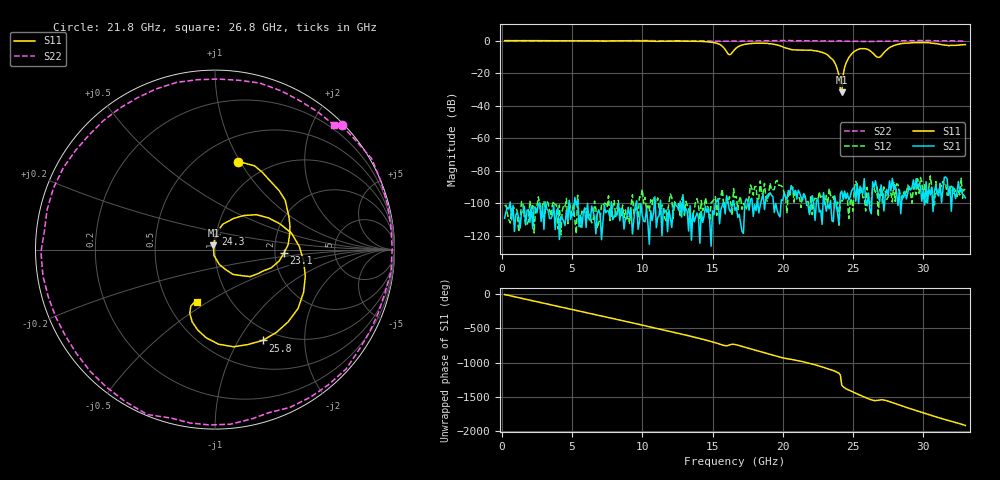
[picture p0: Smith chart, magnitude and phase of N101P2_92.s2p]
# GHZ S RI R 50
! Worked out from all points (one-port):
!   329 points, 200 MHz to 33 GHz, reference 50 ohm
!   lowest |S11| = -31.6 dB at 24.2 GHz (marker M1), VSWR 1.05, Z = 49.1 + j2.43 ohm
!   |S11| at or under -10 dB: 23.34 GHz to 24.73 GHz (1.397 GHz wide, 5.81 % of centre); 26.7 GHz to 26.92 GHz (217.7 MHz wide, 0.812 % of centre)
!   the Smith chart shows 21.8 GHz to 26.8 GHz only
!   S11 on the Smith chart (normalised r, x): 21.8 GHz: 0.74, +0.98; 23.1 GHz: 2.24, -0.11; 24.3 GHz: 0.99, +0.18; 25.8 GHz: 0.85, -1.27; 26.8 GHz: 0.70, -0.45
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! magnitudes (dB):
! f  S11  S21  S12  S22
! 200 MHz  0.0  -109.3  -101.7  0.0
! 5.7 GHz  -0.1  -115.0  -104.9  -0.2
! 11.2 GHz  -0.4  -107.7  -103.4  0.0
! 15.2 GHz  -1.3  -100.2  -96.0  -0.3
! 16.2 GHz  -8.7  -104.3  -96.0  -0.3
! 16.6 GHz  -5.2  -104.5  -96.6  -0.3
! 18.4 GHz  -1.5  -101.1  -86.3  -0.1
! 21.8 GHz  -5.9  -101.4  -98.9  -0.1
! 22.1 GHz  -5.9  -95.4  -107.2  0.0
! 23.1 GHz  -8.3  -105.0  -95.2  -0.1
! 23.8 GHz  -15.3  -100.9  -102.1  -0.2
! 24 GHz  -21.3  -113.0  -113.6  -0.1
! 24.1 GHz  -29.7  -94.2  -99.0  -0.1
! 24.2 GHz  -31.6  -92.5  -98.2  -0.2
! 24.3 GHz  -21.1  -97.7  -99.0  -0.3
! 24.5 GHz  -13.8  -97.4  -95.2  -0.3
! 24.8 GHz  -9.2  -96.1  -99.0  -0.3
! 25.8 GHz  -4.9  -85.0  -96.3  -0.4
! 26.8 GHz  -10.3  -94.0  -108.3  -0.4
! 27.6 GHz  -4.3  -86.4  -93.9  -0.3
! 29.4 GHz  -1.2  -91.3  -91.8  -0.1
! 33 GHz  -2.4  -96.8  -91.6  -0.4
